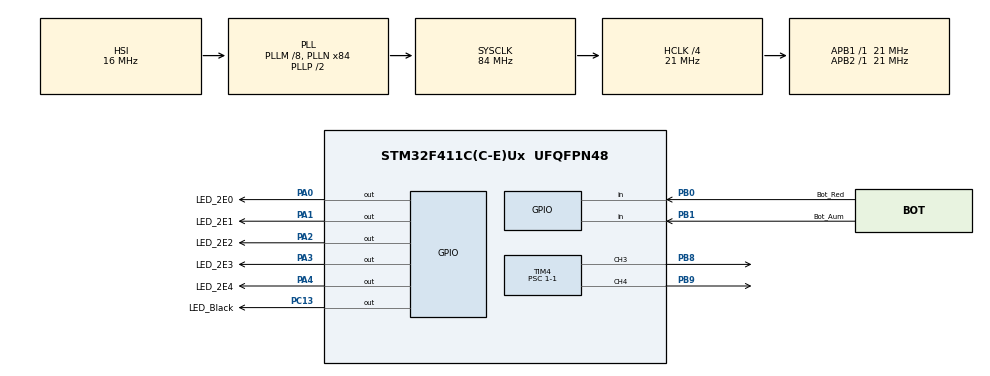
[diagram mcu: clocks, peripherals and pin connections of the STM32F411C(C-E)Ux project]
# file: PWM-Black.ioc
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Mcu.Family=STM32F4
Mcu.Name=STM32F411C(C-E)Ux
Mcu.Package=UFQFPN48
NVIC.PriorityGroup=NVIC_PRIORITYGROUP_4
NVIC.TIM4_IRQn=true\:0\:0\:false\:false\:true\:true\:true\:true
PA0-WKUP.GPIO_Label=LED_2E0
PA0-WKUP.Signal=GPIO_Output
PA1.GPIO_Label=LED_2E1
PA1.Signal=GPIO_Output
PA13.Mode=Serial_Wire
PA13.Signal=SYS_JTMS-SWDIO
PA14.Mode=Serial_Wire
PA14.Signal=SYS_JTCK-SWCLK
PA2.GPIO_Label=LED_2E2
PA2.Signal=GPIO_Output
PA3.GPIO_Label=LED_2E3
PA3.Signal=GPIO_Output
PA4.GPIO_Label=LED_2E4
PA4.Signal=GPIO_Output
PB0.GPIO_Label=Bot_Red
PB0.GPIO_PuPd=GPIO_PULLDOWN
PB0.Signal=GPIO_Input
PB1.GPIO_Label=Bot_Aum
PB1.GPIO_PuPd=GPIO_PULLDOWN
PB1.Signal=GPIO_Input
PB8.Signal=S_TIM4_CH3
PB9.Signal=S_TIM4_CH4
PC13-ANTI_TAMP.GPIO_Label=LED_Black
PC13-ANTI_TAMP.Signal=GPIO_Output
PC14-OSC32_IN.Mode=LSE-External-Oscillator
PC14-OSC32_IN.Signal=RCC_OSC32_IN
PC15-OSC32_OUT.Mode=LSE-External-Oscillator
PC15-OSC32_OUT.Signal=RCC_OSC32_OUT
PH0\ -\ OSC_IN.Mode=HSE-External-Oscillator
PH0\ -\ OSC_IN.Signal=RCC_OSC_IN
PH1\ -\ OSC_OUT.Mode=HSE-External-Oscillator
PH1\ -\ OSC_OUT.Signal=RCC_OSC_OUT
ProjectManager.HeapSize=0x200
ProjectManager.StackSize=0x400
ProjectManager.TargetToolchain=STM32CubeIDE
RCC.48MHZClocksFreq_Value=42000000
RCC.AHBCLKDivider=RCC_SYSCLK_DIV4
RCC.AHBFreq_Value=21000000
RCC.APB1Freq_Value=21000000
RCC.APB1TimFreq_Value=21000000
RCC.APB2Freq_Value=21000000
RCC.APB2TimFreq_Value=21000000
RCC.CortexFreq_Value=21000000
RCC.HCLKFreq_Value=21000000
RCC.HSE_VALUE=25000000
RCC.HSI_VALUE=16000000
RCC.PLLM=8
RCC.PLLN=84
RCC.SYSCLKFreq_VALUE=84000000
RCC.SYSCLKSource=RCC_SYSCLKSOURCE_PLLCLK
RCC.VCOOutputFreq_Value=168000000
SH.S_TIM4_CH3.0=TIM4_CH3,PWM Generation3 CH3
SH.S_TIM4_CH4.0=TIM4_CH4,PWM Generation4 CH4
TIM4.Channel-PWM\ Generation3\ CH3=TIM_CHANNEL_3
TIM4.Channel-PWM\ Generation4\ CH4=TIM_CHANNEL_4
TIM4.Period=1001-1
TIM4.Prescaler=1-1
TIM4.Pulse-PWM\ Generation3\ CH3=501-1
TIM4.Pulse-PWM\ Generation4\ CH4=501-1
VP_TIM4_VS_ClockSourceINT.Mode=Internal
board=custom

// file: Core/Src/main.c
/* USER CODE BEGIN Header */
/**
  ******************************************************************************
  * @file           : main.c
  * @brief          : Main program body
  ******************************************************************************
  * @attention
  *
  * Copyright (c) 2026 STMicroelectronics.
  * All rights reserved.
  *
  * This software is licensed under terms that can be found in the LICENSE file
  * in the root directory of this software component.
  * If no LICENSE file comes with this software, it is provided AS-IS.
  *
  ******************************************************************************
  */
/* USER CODE END Header */
#include "main.h"

TIM_HandleTypeDef htim4;

void SystemClock_Config(void);
static void MX_GPIO_Init(void);
static void MX_TIM4_Init(void);

/* USER CODE BEGIN 0 */
uint32_t IntensMod = 0; //Variavel controle intensidade LED por botões (+-10%)
/* USER CODE END 0 */

int main(void)
{

  /* MCU Configuration--------------------------------------------------------*/

  /* Reset of all peripherals, Initializes the Flash interface and the Systick. */
  HAL_Init();

  /* Configure the system clock */
  SystemClock_Config();

  /* Initialize all configured peripherals */
  MX_GPIO_Init();
  MX_TIM4_Init();
  /* USER CODE BEGIN 2 */
  HAL_TIM_PWM_Start(&htim4, TIM_CHANNEL_3);
  HAL_TIM_PWM_Start(&htim4, TIM_CHANNEL_4);
  HAL_TIM_Base_Start_IT(&htim4);
  /* USER CODE END 2 */

  /* Infinite loop */
  /* USER CODE BEGIN WHILE */
	while (1)
	{
		for(int i = 0; i<10 ; i++)
		{
			//Caso pressione o botão de reduzir intensidade Luminosa LED em 10%:
			if(HAL_GPIO_ReadPin(GPIOB, Bot_Red_Pin) && IntensMod>0)
			{
				while((HAL_GPIO_ReadPin(GPIOB, Bot_Red_Pin))!=0){}

				htim4.Instance->CCR3=((htim4.Instance->ARR*(--IntensMod)/10)); /* 10/100 == 1/10 */
			}

			//Caso pressione o botão de aumentar intensidade Luminosa LED em 10%:
			if(HAL_GPIO_ReadPin(GPIOB, Bot_Aum_Pin) && IntensMod<10)
			{
				while((HAL_GPIO_ReadPin(GPIOB, Bot_Aum_Pin))!=0){}

				htim4.Instance->CCR3=((htim4.Instance->ARR*(++IntensMod)/10)); /* 10/100 == 1/10 */
			}

			//100ms*10=1s
			HAL_Delay(100);
		}
		//Altera de estado a cada 1s:
		HAL_GPIO_TogglePin(GPIOC, LED_Black_Pin);
	}
    /* USER CODE END WHILE */
}
    /* USER CODE BEGIN 3 */
void HAL_TIM_PeriodElapsedCallback (TIM_HandleTypeDef * Timer) /*Ativada a cada ciclo completo de um clock (~=47.6us)*/
{
	//Apenas timer 4 está configurado, portanto não é necessário checar qual timer causou a interrupção
	//Gradualmente Ascende e Apaga um LED numa frequência de 21kHz e outros 5 LEDs, ambos em T=1s
	static uint8_t Repeticoes = 0; // Como queriamos f = 21kHz (T ~= 47.6us), esta variavel permite manipulaçoes na escala de ms
	if(Repeticoes==210) // 21kHz == 100%|1s -> 2100 == 10%|100ms 210 == 1%|10ms
	{
		static uint16_t IntensidadeLED = 0; //Valor percentual da intensidade do LED
		static uint16_t PIL=1; //Percentual de IntensidadeLED expandido para 5 LEDs (20%/LED)
		static char Subindo = 's'; //Bool Artificial (não existe variavel booleana em C)

		//Incrementa ou diminui IntensidadeLED de acordo com o tempo
		if (Subindo == 's')
		{
			Timer->Instance->CCR4=((Timer->Instance->ARR*++IntensidadeLED)/100);

			if (IntensidadeLED%20==0)
				PIL==16?(HAL_GPIO_WritePin(GPIOA, PIL, 1),Subindo='n'):(HAL_GPIO_WritePin(GPIOA, PIL, 1),(PIL=PIL<<1)); //Ascende LEDs a cada 0.2s

		}
		else //Subindo == 'n'
		{
			Timer->Instance->CCR4=((Timer->Instance->ARR*--IntensidadeLED)/100);

			if (IntensidadeLED%20==0)
				PIL==1?(HAL_GPIO_WritePin(GPIOA, PIL, 0),Subindo='s'):(HAL_GPIO_WritePin(GPIOA, PIL, 0),PIL=PIL>>1); //Apaga LEDs a cada 0.2s
		}
		Repeticoes=0;
	}
	Repeticoes++;
}
  /* USER CODE END 3 */

void SystemClock_Config(void)
{
  RCC_OscInitTypeDef RCC_OscInitStruct = {0};
  RCC_ClkInitTypeDef RCC_ClkInitStruct = {0};

  /** Configure the main internal regulator output voltage
  */
  __HAL_RCC_PWR_CLK_ENABLE();
  __HAL_PWR_VOLTAGESCALING_CONFIG(PWR_REGULATOR_VOLTAGE_SCALE1);

  /** Initializes the RCC Oscillators according to the specified parameters
  * in the RCC_OscInitTypeDef structure.
  */
  RCC_OscInitStruct.OscillatorType = RCC_OSCILLATORTYPE_HSI;
  RCC_OscInitStruct.HSIState = RCC_HSI_ON;
  RCC_OscInitStruct.HSICalibrationValue = RCC_HSICALIBRATION_DEFAULT;
  RCC_OscInitStruct.PLL.PLLState = RCC_PLL_ON;
  RCC_OscInitStruct.PLL.PLLSource = RCC_PLLSOURCE_HSI;
  RCC_OscInitStruct.PLL.PLLM = 8;
  RCC_OscInitStruct.PLL.PLLN = 84;
  RCC_OscInitStruct.PLL.PLLP = RCC_PLLP_DIV2;
  RCC_OscInitStruct.PLL.PLLQ = 4;
  if (HAL_RCC_OscConfig(&RCC_OscInitStruct) != HAL_OK)
  {
    Error_Handler();
  }

  /** Initializes the CPU, AHB and APB buses clocks
  */
  RCC_ClkInitStruct.ClockType = RCC_CLOCKTYPE_HCLK|RCC_CLOCKTYPE_SYSCLK
                              |RCC_CLOCKTYPE_PCLK1|RCC_CLOCKTYPE_PCLK2;
  RCC_ClkInitStruct.SYSCLKSource = RCC_SYSCLKSOURCE_PLLCLK;
  RCC_ClkInitStruct.AHBCLKDivider = RCC_SYSCLK_DIV4;
  RCC_ClkInitStruct.APB1CLKDivider = RCC_HCLK_DIV1;
  RCC_ClkInitStruct.APB2CLKDivider = RCC_HCLK_DIV1;

  if (HAL_RCC_ClockConfig(&RCC_ClkInitStruct, FLASH_LATENCY_0) != HAL_OK)
  {
    Error_Handler();
  }
}

static void MX_TIM4_Init(void)
{

  TIM_ClockConfigTypeDef sClockSourceConfig = {0};
  TIM_MasterConfigTypeDef sMasterConfig = {0};
  TIM_OC_InitTypeDef sConfigOC = {0};

  htim4.Instance = TIM4;
  htim4.Init.Prescaler = 1-1;
  htim4.Init.CounterMode = TIM_COUNTERMODE_UP;
  htim4.Init.Period = 1001-1;
  htim4.Init.ClockDivision = TIM_CLOCKDIVISION_DIV1;
  htim4.Init.AutoReloadPreload = TIM_AUTORELOAD_PRELOAD_DISABLE;
  if (HAL_TIM_Base_Init(&htim4) != HAL_OK)
  {
    Error_Handler();
  }
  sClockSourceConfig.ClockSource = TIM_CLOCKSOURCE_INTERNAL;
  if (HAL_TIM_ConfigClockSource(&htim4, &sClockSourceConfig) != HAL_OK)
  {
    Error_Handler();
  }
  if (HAL_TIM_PWM_Init(&htim4) != HAL_OK)
  {
    Error_Handler();
  }
  sMasterConfig.MasterOutputTrigger = TIM_TRGO_RESET;
  sMasterConfig.MasterSlaveMode = TIM_MASTERSLAVEMODE_DISABLE;
  if (HAL_TIMEx_MasterConfigSynchronization(&htim4, &sMasterConfig) != HAL_OK)
  {
    Error_Handler();
  }
  sConfigOC.OCMode = TIM_OCMODE_PWM1;
  sConfigOC.Pulse = 501-1;
  sConfigOC.OCPolarity = TIM_OCPOLARITY_HIGH;
  sConfigOC.OCFastMode = TIM_OCFAST_DISABLE;
  if (HAL_TIM_PWM_ConfigChannel(&htim4, &sConfigOC, TIM_CHANNEL_3) != HAL_OK)
  {
    Error_Handler();
  }
  if (HAL_TIM_PWM_ConfigChannel(&htim4, &sConfigOC, TIM_CHANNEL_4) != HAL_OK)
  {
    Error_Handler();
  }
  /* USER CODE BEGIN TIM4_Init 2 */
  htim4.Instance->CCR3=((htim4.Instance->ARR*(IntensMod)/10)); //Inicializa o LED controlado por botoes na intensidade inicial desejada
  /* USER CODE END TIM4_Init 2 */
  HAL_TIM_MspPostInit(&htim4);

}

static void MX_GPIO_Init(void)
{
  GPIO_InitTypeDef GPIO_InitStruct = {0};

  /* GPIO Ports Clock Enable */
  __HAL_RCC_GPIOC_CLK_ENABLE();
  __HAL_RCC_GPIOH_CLK_ENABLE();
  __HAL_RCC_GPIOA_CLK_ENABLE();
  __HAL_RCC_GPIOB_CLK_ENABLE();

  /*Configure GPIO pin Output Level */
  HAL_GPIO_WritePin(LED_Black_GPIO_Port, LED_Black_Pin, GPIO_PIN_RESET);

  /*Configure GPIO pin Output Level */
  HAL_GPIO_WritePin(GPIOA, LED_2E0_Pin|LED_2E1_Pin|LED_2E2_Pin|LED_2E3_Pin
                          |LED_2E4_Pin, GPIO_PIN_RESET);

  /*Configure GPIO pin : LED_Black_Pin */
  GPIO_InitStruct.Pin = LED_Black_Pin;
  GPIO_InitStruct.Mode = GPIO_MODE_OUTPUT_PP;
  GPIO_InitStruct.Pull = GPIO_NOPULL;
  GPIO_InitStruct.Speed = GPIO_SPEED_FREQ_LOW;
  HAL_GPIO_Init(LED_Black_GPIO_Port, &GPIO_InitStruct);

  /*Configure GPIO pins : LED_2E0_Pin LED_2E1_Pin LED_2E2_Pin LED_2E3_Pin
                           LED_2E4_Pin */
  GPIO_InitStruct.Pin = LED_2E0_Pin|LED_2E1_Pin|LED_2E2_Pin|LED_2E3_Pin
                          |LED_2E4_Pin;
  GPIO_InitStruct.Mode = GPIO_MODE_OUTPUT_PP;
  GPIO_InitStruct.Pull = GPIO_NOPULL;
  GPIO_InitStruct.Speed = GPIO_SPEED_FREQ_LOW;
  HAL_GPIO_Init(GPIOA, &GPIO_InitStruct);

  /*Configure GPIO pins : Bot_Red_Pin Bot_Aum_Pin */
  GPIO_InitStruct.Pin = Bot_Red_Pin|Bot_Aum_Pin;
  GPIO_InitStruct.Mode = GPIO_MODE_INPUT;
  GPIO_InitStruct.Pull = GPIO_PULLDOWN;
  HAL_GPIO_Init(GPIOB, &GPIO_InitStruct);

}

void Error_Handler(void)
{
  __disable_irq();
  while (1)
  {
  }
}
